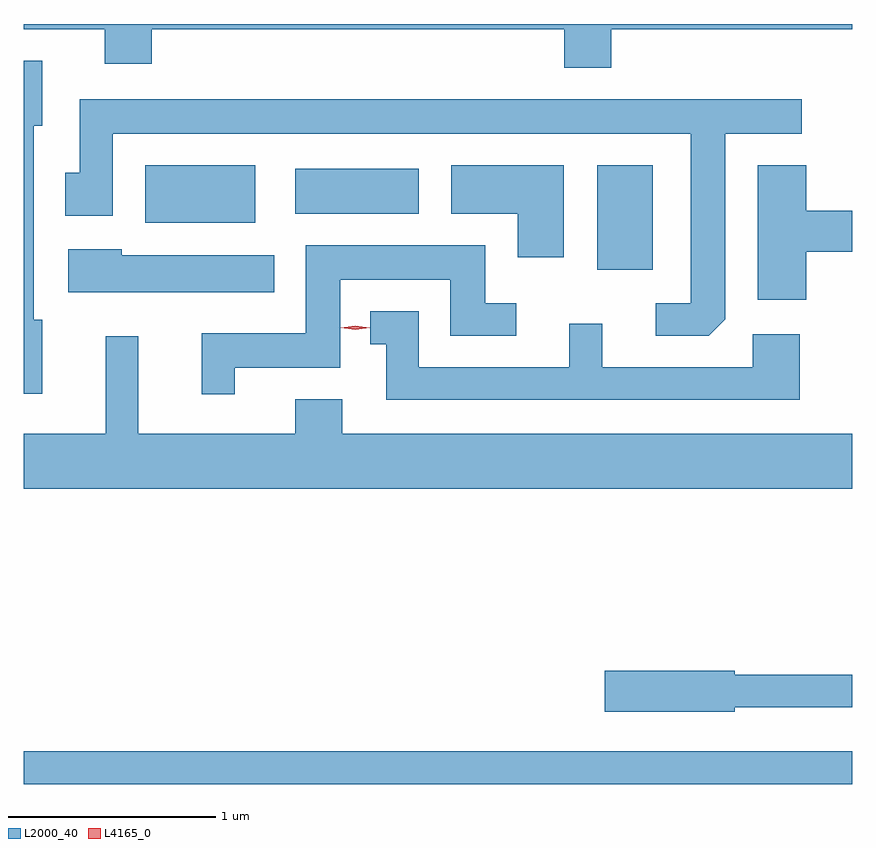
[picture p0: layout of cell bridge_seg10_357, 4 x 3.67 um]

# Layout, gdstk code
import gdstk
lib = gdstk.Library(unit=1e-6, precision=1e-09)
def R(c, l, rs):  # rectangles x0, y0, x1, y1
    for r in rs: c.add(gdstk.rectangle(r[:2], r[2:], *l))
def P(c, l, *ps):  # polygons
    for p in ps: c.add(gdstk.Polygon(p, *l))
L2000_40 = (2000, 40)
L4165_0 = (4165, 0)

bridge_seg10_357 = lib.new_cell('bridge_seg10_357')
R(bridge_seg10_357, L2000_40, [(1057.541,2099.171,1061.541,2099.329), (1060.311,2101.656,1060.579,2102.159), (1058.126,2101.881,1058.659,2102.159), (1058.851,2101.926,1059.449,2102.144)])
P(bridge_seg10_357, L2000_40, [(1060.379,2102.816),(1061.541,2102.816),(1061.541,2102.842),(1057.541,2102.842),(1057.541,2102.816),(1057.931,2102.816),(1057.931,2102.651),(1058.159,2102.651),(1058.159,2102.816),(1060.151,2102.816),(1060.151,2102.631),(1060.379,2102.631)],
  [(1057.629,2101.414),(1057.589,2101.414),(1057.589,2102.351),(1057.629,2102.351),(1057.629,2102.664),(1057.541,2102.664),(1057.541,2101.056),(1057.629,2101.056)],
  [(1060.929,2101.417),(1060.929,2102.311),(1061.298,2102.311),(1061.298,2102.479),(1057.811,2102.479),(1057.811,2102.124),(1057.741,2102.124),(1057.741,2101.916),(1057.969,2101.916),(1057.969,2102.311),(1060.761,2102.311),(1060.761,2101.494),(1060.593,2101.494),(1060.593,2101.336),(1060.849,2101.336)],
  [(1060.149,2102.159),(1059.606,2102.159),(1059.606,2101.926),(1059.926,2101.926),(1059.926,2101.716),(1060.149,2101.716)],
  [(1061.319,2101.741),(1061.541,2101.741),(1061.541,2101.939),(1061.319,2101.939),(1061.319,2102.159),(1061.086,2102.159),(1061.086,2101.511),(1061.319,2101.511)],
  [(1058.559,2101.181),(1059.069,2101.181),(1059.069,2101.606),(1059.601,2101.606),(1059.601,2101.336),(1059.918,2101.336),(1059.918,2101.494),(1059.769,2101.494),(1059.769,2101.774),(1058.901,2101.774),(1058.901,2101.349),(1058.401,2101.349),(1058.401,2101.053),(1058.559,2101.053)],
  [(1058.749,2101.724),(1058.014,2101.724),(1058.014,2101.754),(1057.756,2101.754),(1057.756,2101.546),(1058.749,2101.546)],
  [(1061.289,2101.344),(1061.061,2101.344),(1061.061,2101.184),(1060.334,2101.184),(1060.334,2101.393),(1060.176,2101.393),(1060.176,2101.184),(1059.449,2101.184),(1059.449,2101.454),(1059.213,2101.454),(1059.213,2101.296),(1059.291,2101.296),(1059.291,2101.026),(1061.289,2101.026)],
  [(1061.541,2100.864),(1059.079,2100.864),(1059.079,2101.029),(1058.851,2101.029),(1058.851,2100.864),(1058.094,2100.864),(1058.094,2101.333),(1057.936,2101.333),(1057.936,2100.864),(1057.541,2100.864),(1057.541,2100.596),(1061.541,2100.596)],
  [(1060.974,2099.541),(1061.541,2099.541),(1061.541,2099.699),(1060.974,2099.699),(1060.974,2099.719),(1060.346,2099.719),(1060.346,2099.521),(1060.974,2099.521)])
P(bridge_seg10_357, L4165_0, [(1059.141,2101.365),(1059.072,2101.375),(1059.072,2101.376),(1059.072,2101.376),(1059.141,2101.385),(1059.211,2101.376),(1059.211,2101.375),(1059.211,2101.374)])

lib.write_gds('bridge_seg10_357.gds')
